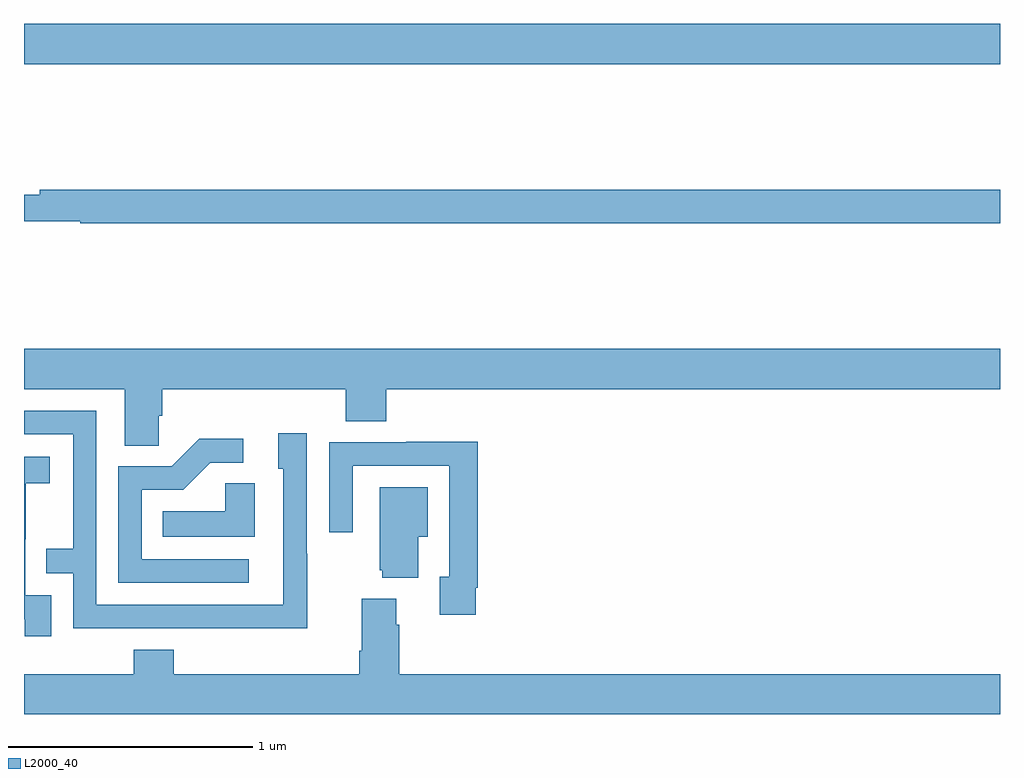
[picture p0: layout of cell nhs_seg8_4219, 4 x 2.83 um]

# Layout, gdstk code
import gdstk
lib = gdstk.Library(unit=1e-6, precision=1e-09)
def R(c, l, rs):  # rectangles x0, y0, x1, y1
    for r in rs: c.add(gdstk.rectangle(r[:2], r[2:], *l))
def P(c, l, *ps):  # polygons
    for p in ps: c.add(gdstk.Polygon(p, *l))
L2000_40 = (2000, 40)

nhs_seg8_4219 = lib.new_cell('nhs_seg8_4219')
R(nhs_seg8_4219, L2000_40, [(369,1135.148,373,1135.312)])
P(nhs_seg8_4219, L2000_40, [(373,1134.632),(369.064,1134.632),(369.064,1134.613),(369,1134.613),(369,1134.504),(369.23,1134.504),(369.23,1134.496),(373,1134.496)],
  [(369.552,1133.707),(369.566,1133.707),(369.566,1133.816),(370.319,1133.816),(370.319,1133.683),(370.484,1133.683),(370.484,1133.816),(373,1133.816),(373,1133.98),(369,1133.98),(369,1133.816),(369.413,1133.816),(369.413,1133.584),(369.552,1133.584)],
  [(370.161,1133.141),(370.158,1133.141),(370.158,1133.635),(370.043,1133.635),(370.043,1133.49),(370.062,1133.49),(370.062,1132.932),(369.297,1132.932),(369.297,1133.727),(369,1133.727),(369,1133.631),(369.201,1133.631),(369.201,1133.162),(369.091,1133.162),(369.091,1133.061),(369.201,1133.061),(369.201,1132.836),(369.697,1132.836),(369.697,1132.835),(370.161,1132.835)],
  [(369.922,1133.118),(369.483,1133.118),(369.483,1133.403),(369.652,1133.403),(369.763,1133.514),(369.898,1133.514),(369.898,1133.612),(369.719,1133.612),(369.606,1133.499),(369.387,1133.499),(369.387,1133.022),(369.922,1133.022)],
  [(370.852,1133.002),(370.859,1133.002),(370.859,1133.6),(370.567,1133.6),(370.567,1133.598),(370.251,1133.598),(370.251,1133.229),(370.347,1133.229),(370.347,1133.502),(370.743,1133.502),(370.743,1133.046),(370.703,1133.046),(370.703,1132.89),(370.852,1132.89)],
  [(369.111,1132.971),(369.006,1132.971),(369.006,1133.201),(369.008,1133.201),(369.008,1133.429),(369.106,1133.429),(369.106,1133.539),(369,1133.539),(369,1132.873),(369.003,1132.873),(369.003,1132.803),(369.111,1132.803)],
  [(369.946,1133.429),(369.825,1133.429),(369.825,1133.314),(369.568,1133.314),(369.568,1133.21),(369.946,1133.21)],
  [(370.615,1133.21),(370.654,1133.21),(370.654,1133.413),(370.457,1133.413),(370.457,1133.073),(370.469,1133.073),(370.469,1133.042),(370.615,1133.042)],
  [(373,1132.648),(370.538,1132.648),(370.538,1132.85),(370.525,1132.85),(370.525,1132.957),(370.385,1132.957),(370.385,1132.744),(370.373,1132.744),(370.373,1132.648),(369.614,1132.648),(369.614,1132.747),(369.449,1132.747),(369.449,1132.648),(369,1132.648),(369,1132.484),(373,1132.484)])

lib.write_gds('nhs_seg8_4219.gds')
